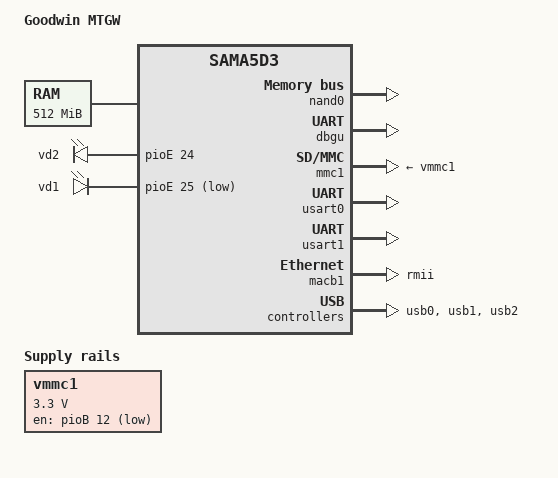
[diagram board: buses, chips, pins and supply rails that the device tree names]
/*
 * goodwin-ci5-3e1.dts - Device Tree file for Goodwin CI5-3E1 board
 *
 *  Copyright (C) 2013 Atmel,
 *                2013 Ludovic Desroches <ludovic.desroches@atmel.com>
 *
 * Licensed under GPLv2 or later.
 */
/dts-v1/;
#include "sama5d35.dtsi"

/ {
	model = "Goodwin MTGW";
	compatible = "atmel,sama5d35ek", "atmel,sama5d3xmb", "atmel,sama5d3xcm", "atmel,sama5d3", "atmel,sama5";

	memory {
		reg = <0x20000000 0x20000000>;
	};

	slow_xtal {
		clock-frequency = <32768>;
	};

	main_xtal {
		clock-frequency = <12000000>;
	};

	leds {
		compatible = "gpio-leds";

		pe24 {
			label = "vd2";
			gpios = <&pioE 24 0>;
		};

		pe25 {
			label = "vd1"; /* conflicts with 1wire */
			gpios = <&pioE 25 1>;
			linux,default-trigger = "heartbeat";
		};

	};

	regulators {
	    compatible = "simple-bus";
	    #address-cells = <1>;
	    #size-cells = <0>;
	    vmmc1: vmmc1-reg@1 {
		    compatible = "regulator-fixed";
		    reg = <1>;
		    regulator-name = "vmmc1";
		    regulator-min-microvolt = <3300000>;
		    regulator-max-microvolt = <3300000>;
		    gpio = <&pioB 12 0>;
		    regulator-boot-on;
		    status = "okay";
	    };

	};

	ahb {
		nand0: nand@60000000 {
			nand-bus-width = <8>;
			nand-ecc-mode = "hw";
			atmel,has-pmecc;
			atmel,pmecc-cap = <4>;
			atmel,pmecc-sector-size = <512>;
			status = "ok";
		};

		apb {
			dbgu: serial@ffffee00 {
				status = "okay";
			};


			/* external slot */
			mmc1: mmc@f8000000 {
				status = "okay";
				vmmc-supply = <&vmmc1>;
				slot@0 {
					reg = <0>;
					bus-width = <4>;
				};
			};


			/* DB-9 out, DTS/DTR/DSR/DCD should be set from userspace */
			usart0: serial@f001c000 {
				pinctrl-0 = <&pinctrl_usart0 &pinctrl_usart0_rts_cts>;
				status = "okay";
			};

			/* ESP-03 */
			usart1: serial@f0020000 {
				status = "okay";
			};

			macb1: ethernet@f802c000 {
				phy-mode = "rmii";
				status = "okay";
			};
		};

		usb0: gadget@00500000 {
			pinctrl-names = "default";
			status = "okay";
		};

		usb1: ohci@00600000 {
			num-ports = <3>;
			status = "okay";
		};

		usb2: ehci@00700000 {
			status = "okay";
		};

	};
};
